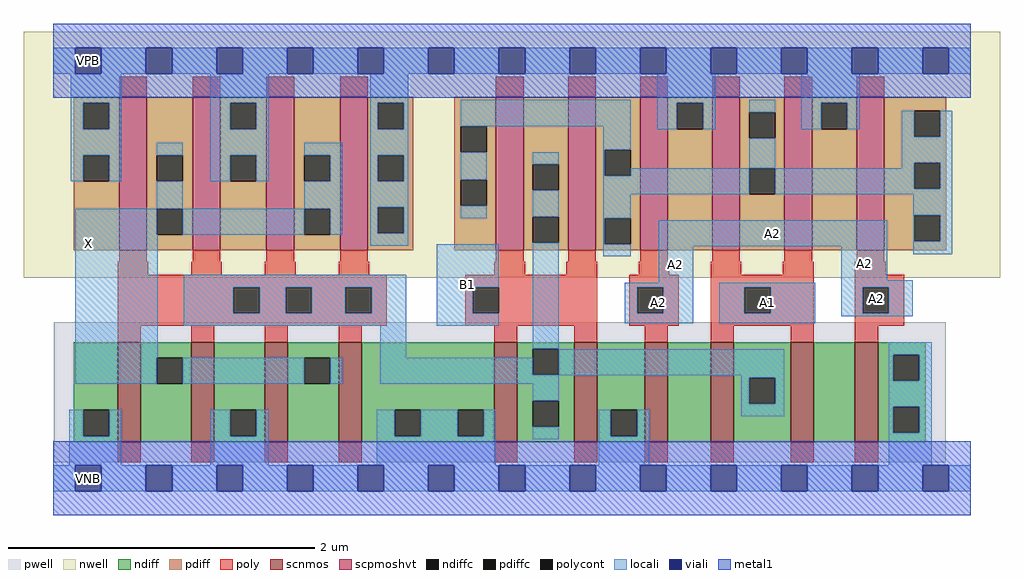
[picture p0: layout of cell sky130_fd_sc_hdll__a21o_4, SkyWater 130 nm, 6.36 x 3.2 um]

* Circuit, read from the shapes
.subckt sky130_fd_sc_hdll__a21o_4 A1 A2 B1 VGND VNB VPB VPWR X
XM1 X n1 VGND VNB sky130_fd_pr__nfet_01v8 w=0.65 l=0.15 m=4
XM2 n1 B1 VGND VNB sky130_fd_pr__nfet_01v8 w=0.65 l=0.15 m=2
XM3 n2 A2 VGND VNB sky130_fd_pr__nfet_01v8 w=0.65 l=0.15
XM4 n1 A1 n2 VNB sky130_fd_pr__nfet_01v8 w=0.65 l=0.15
XM5 n3 A1 n1 VNB sky130_fd_pr__nfet_01v8 w=0.65 l=0.15
XM6 VGND A2 n3 VNB sky130_fd_pr__nfet_01v8 w=0.65 l=0.15
XM7 X n1 VPWR VPB sky130_fd_pr__pfet_01v8_hvt w=1 l=0.18 m=4
XM8 n1 B1 n4 VPB sky130_fd_pr__pfet_01v8_hvt w=1 l=0.18 m=2
XM9 VPWR A2 n4 VPB sky130_fd_pr__pfet_01v8_hvt w=1 l=0.18 m=2
XM10 n4 A1 VPWR VPB sky130_fd_pr__pfet_01v8_hvt w=1 l=0.18 m=2
.ends

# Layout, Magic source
magic
tech sky130A
magscale 1 2
<< nwell >>
rect -38 261 1234 582
<< pwell >>
rect 1 21 1163 203
rect 29 -17 63 21
<< scnmos >>
rect 84 47 114 177
rect 180 47 210 177
rect 276 47 306 177
rect 372 47 402 177
rect 575 47 605 177
rect 679 47 709 177
rect 771 47 801 177
rect 857 47 887 177
rect 961 47 991 177
rect 1045 47 1075 177
<< scpmoshvt >>
rect 86 297 122 497
rect 182 297 218 497
rect 278 297 314 497
rect 374 297 410 497
rect 577 297 613 497
rect 671 297 707 497
rect 765 297 801 497
rect 859 297 895 497
rect 953 297 989 497
rect 1047 297 1083 497
<< ndiff >>
rect 27 89 84 177
rect 27 55 39 89
rect 73 55 84 89
rect 27 47 84 55
rect 114 157 180 177
rect 114 123 135 157
rect 169 123 180 157
rect 114 47 180 123
rect 210 89 276 177
rect 210 55 231 89
rect 265 55 276 89
rect 210 47 276 55
rect 306 157 372 177
rect 306 123 327 157
rect 361 123 372 157
rect 306 47 372 123
rect 402 89 575 177
rect 402 55 445 89
rect 479 55 527 89
rect 561 55 575 89
rect 402 47 575 55
rect 605 169 679 177
rect 605 135 625 169
rect 659 135 679 169
rect 605 101 679 135
rect 605 67 625 101
rect 659 67 679 101
rect 605 47 679 67
rect 709 89 771 177
rect 709 55 727 89
rect 761 55 771 89
rect 709 47 771 55
rect 801 47 857 177
rect 887 131 961 177
rect 887 97 907 131
rect 941 97 961 131
rect 887 47 961 97
rect 991 47 1045 177
rect 1075 161 1137 177
rect 1075 127 1095 161
rect 1129 127 1137 161
rect 1075 93 1137 127
rect 1075 59 1095 93
rect 1129 59 1137 93
rect 1075 47 1137 59
<< pdiff >>
rect 27 489 86 497
rect 27 455 39 489
rect 73 455 86 489
rect 27 421 86 455
rect 27 387 39 421
rect 73 387 86 421
rect 27 297 86 387
rect 122 421 182 497
rect 122 387 135 421
rect 169 387 182 421
rect 122 351 182 387
rect 122 317 135 351
rect 169 317 182 351
rect 122 297 182 317
rect 218 489 278 497
rect 218 455 231 489
rect 265 455 278 489
rect 218 421 278 455
rect 218 387 231 421
rect 265 387 278 421
rect 218 297 278 387
rect 314 421 374 497
rect 314 387 327 421
rect 361 387 374 421
rect 314 351 374 387
rect 314 317 327 351
rect 361 317 374 351
rect 314 297 374 317
rect 410 489 469 497
rect 410 455 423 489
rect 457 455 469 489
rect 410 421 469 455
rect 410 387 423 421
rect 457 387 469 421
rect 410 353 469 387
rect 410 319 423 353
rect 457 319 469 353
rect 410 297 469 319
rect 523 459 577 497
rect 523 425 531 459
rect 565 425 577 459
rect 523 389 577 425
rect 523 355 531 389
rect 565 355 577 389
rect 523 297 577 355
rect 613 409 671 497
rect 613 375 625 409
rect 659 375 671 409
rect 613 341 671 375
rect 613 307 625 341
rect 659 307 671 341
rect 613 297 671 307
rect 707 428 765 497
rect 707 394 719 428
rect 753 394 765 428
rect 707 339 765 394
rect 707 305 719 339
rect 753 305 765 339
rect 707 297 765 305
rect 801 489 859 497
rect 801 455 813 489
rect 847 455 859 489
rect 801 297 859 455
rect 895 477 953 497
rect 895 443 907 477
rect 941 443 953 477
rect 895 404 953 443
rect 895 370 907 404
rect 941 370 953 404
rect 895 297 953 370
rect 989 489 1047 497
rect 989 455 1001 489
rect 1035 455 1047 489
rect 989 297 1047 455
rect 1083 479 1164 497
rect 1083 445 1122 479
rect 1156 445 1164 479
rect 1083 411 1164 445
rect 1083 377 1122 411
rect 1156 377 1164 411
rect 1083 343 1164 377
rect 1083 309 1122 343
rect 1156 309 1164 343
rect 1083 297 1164 309
<< ndiffc >>
rect 39 55 73 89
rect 135 123 169 157
rect 231 55 265 89
rect 327 123 361 157
rect 445 55 479 89
rect 527 55 561 89
rect 625 135 659 169
rect 625 67 659 101
rect 727 55 761 89
rect 907 97 941 131
rect 1095 127 1129 161
rect 1095 59 1129 93
<< pdiffc >>
rect 39 455 73 489
rect 39 387 73 421
rect 135 387 169 421
rect 135 317 169 351
rect 231 455 265 489
rect 231 387 265 421
rect 327 387 361 421
rect 327 317 361 351
rect 423 455 457 489
rect 423 387 457 421
rect 423 319 457 353
rect 531 425 565 459
rect 531 355 565 389
rect 625 375 659 409
rect 625 307 659 341
rect 719 394 753 428
rect 719 305 753 339
rect 813 455 847 489
rect 907 443 941 477
rect 907 370 941 404
rect 1001 455 1035 489
rect 1122 445 1156 479
rect 1122 377 1156 411
rect 1122 309 1156 343
<< poly >>
rect 86 497 122 523
rect 182 497 218 523
rect 278 497 314 523
rect 374 497 410 523
rect 577 497 613 523
rect 671 497 707 523
rect 765 497 801 523
rect 859 497 895 523
rect 953 497 989 523
rect 1047 497 1083 523
rect 86 282 122 297
rect 182 282 218 297
rect 278 282 314 297
rect 374 282 410 297
rect 577 282 613 297
rect 671 282 707 297
rect 765 282 801 297
rect 859 282 895 297
rect 953 282 989 297
rect 1047 282 1083 297
rect 84 265 124 282
rect 180 265 220 282
rect 276 265 316 282
rect 372 265 412 282
rect 575 265 615 282
rect 669 265 709 282
rect 763 265 803 282
rect 857 265 897 282
rect 951 265 991 282
rect 84 249 435 265
rect 84 215 235 249
rect 269 215 303 249
rect 337 215 381 249
rect 415 215 435 249
rect 84 199 435 215
rect 537 249 709 265
rect 537 215 547 249
rect 581 215 709 249
rect 537 199 709 215
rect 751 249 815 265
rect 751 215 761 249
rect 795 215 815 249
rect 751 199 815 215
rect 857 249 991 265
rect 857 215 901 249
rect 935 215 991 249
rect 857 199 991 215
rect 84 177 114 199
rect 180 177 210 199
rect 276 177 306 199
rect 372 177 402 199
rect 575 177 605 199
rect 679 177 709 199
rect 771 177 801 199
rect 857 177 887 199
rect 961 177 991 199
rect 1045 265 1085 282
rect 1045 249 1109 265
rect 1045 215 1055 249
rect 1089 215 1109 249
rect 1045 199 1109 215
rect 1045 177 1075 199
rect 84 21 114 47
rect 180 21 210 47
rect 276 21 306 47
rect 372 21 402 47
rect 575 21 605 47
rect 679 21 709 47
rect 771 21 801 47
rect 857 21 887 47
rect 961 21 991 47
rect 1045 21 1075 47
<< polycont >>
rect 235 215 269 249
rect 303 215 337 249
rect 381 215 415 249
rect 547 215 581 249
rect 761 215 795 249
rect 901 215 935 249
rect 1055 215 1089 249
<< locali >>
rect 0 527 29 561
rect 63 527 121 561
rect 155 527 213 561
rect 247 527 305 561
rect 339 527 397 561
rect 431 527 489 561
rect 523 527 581 561
rect 615 527 673 561
rect 707 527 765 561
rect 799 527 857 561
rect 891 527 949 561
rect 983 527 1041 561
rect 1075 527 1133 561
rect 1167 527 1196 561
rect 23 489 89 527
rect 23 455 39 489
rect 73 455 89 489
rect 23 421 89 455
rect 205 489 281 527
rect 205 455 231 489
rect 265 455 281 489
rect 23 387 39 421
rect 73 387 89 421
rect 135 421 169 437
rect 205 421 281 455
rect 413 489 463 527
rect 413 455 423 489
rect 457 455 463 489
rect 205 387 231 421
rect 265 387 281 421
rect 327 421 377 437
rect 361 387 377 421
rect 135 351 169 387
rect 327 351 377 387
rect 29 317 135 351
rect 169 317 327 351
rect 361 317 377 351
rect 413 421 463 455
rect 413 387 423 421
rect 457 387 463 421
rect 413 353 463 387
rect 413 319 423 353
rect 457 319 463 353
rect 531 459 753 493
rect 717 428 753 459
rect 787 489 863 527
rect 787 455 813 489
rect 847 455 863 489
rect 907 477 941 493
rect 531 389 565 425
rect 531 339 565 355
rect 625 409 659 425
rect 625 341 659 375
rect 29 157 136 317
rect 413 303 463 319
rect 170 249 460 265
rect 170 215 235 249
rect 269 215 303 249
rect 337 215 381 249
rect 415 215 460 249
rect 170 199 460 215
rect 500 249 581 305
rect 500 215 547 249
rect 500 199 581 215
rect 426 157 460 199
rect 625 169 659 307
rect 717 394 719 428
rect 975 489 1051 527
rect 975 455 1001 489
rect 1035 455 1051 489
rect 907 404 941 443
rect 1106 445 1122 479
rect 1156 445 1172 479
rect 1106 411 1172 445
rect 1106 404 1122 411
rect 753 394 907 404
rect 717 370 907 394
rect 941 377 1122 404
rect 1156 377 1172 411
rect 941 370 1172 377
rect 717 339 753 370
rect 717 305 719 339
rect 1121 343 1172 370
rect 717 289 753 305
rect 789 302 1087 336
rect 789 255 834 302
rect 1027 258 1087 302
rect 1121 309 1122 343
rect 1156 309 1172 343
rect 1121 292 1172 309
rect 745 249 834 255
rect 745 215 761 249
rect 795 215 834 249
rect 745 202 834 215
rect 868 249 993 255
rect 868 215 901 249
rect 935 215 993 249
rect 868 202 993 215
rect 1027 249 1120 258
rect 1027 215 1055 249
rect 1089 215 1120 249
rect 1027 211 1120 215
rect 29 123 135 157
rect 169 123 327 157
rect 361 123 377 157
rect 426 135 625 157
rect 659 135 953 168
rect 426 134 953 135
rect 426 123 659 134
rect 625 101 659 123
rect 21 55 39 89
rect 73 55 89 89
rect 21 17 89 55
rect 205 55 231 89
rect 265 55 281 89
rect 205 17 281 55
rect 422 55 445 89
rect 479 55 527 89
rect 561 55 577 89
rect 422 17 577 55
rect 897 131 953 134
rect 897 97 907 131
rect 941 97 953 131
rect 625 51 659 67
rect 711 55 727 89
rect 761 55 777 89
rect 897 81 953 97
rect 1089 161 1145 177
rect 1089 127 1095 161
rect 1129 127 1145 161
rect 1089 93 1145 127
rect 711 17 777 55
rect 1089 59 1095 93
rect 1129 59 1145 93
rect 1089 17 1145 59
rect 0 -17 29 17
rect 63 -17 121 17
rect 155 -17 213 17
rect 247 -17 305 17
rect 339 -17 397 17
rect 431 -17 489 17
rect 523 -17 581 17
rect 615 -17 673 17
rect 707 -17 765 17
rect 799 -17 857 17
rect 891 -17 949 17
rect 983 -17 1041 17
rect 1075 -17 1133 17
rect 1167 -17 1196 17
<< viali >>
rect 29 527 63 561
rect 121 527 155 561
rect 213 527 247 561
rect 305 527 339 561
rect 397 527 431 561
rect 489 527 523 561
rect 581 527 615 561
rect 673 527 707 561
rect 765 527 799 561
rect 857 527 891 561
rect 949 527 983 561
rect 1041 527 1075 561
rect 1133 527 1167 561
rect 29 -17 63 17
rect 121 -17 155 17
rect 213 -17 247 17
rect 305 -17 339 17
rect 397 -17 431 17
rect 489 -17 523 17
rect 581 -17 615 17
rect 673 -17 707 17
rect 765 -17 799 17
rect 857 -17 891 17
rect 949 -17 983 17
rect 1041 -17 1075 17
rect 1133 -17 1167 17
<< metal1 >>
rect 0 561 1196 592
rect 0 527 29 561
rect 63 527 121 561
rect 155 527 213 561
rect 247 527 305 561
rect 339 527 397 561
rect 431 527 489 561
rect 523 527 581 561
rect 615 527 673 561
rect 707 527 765 561
rect 799 527 857 561
rect 891 527 949 561
rect 983 527 1041 561
rect 1075 527 1133 561
rect 1167 527 1196 561
rect 0 496 1196 527
rect 0 17 1196 48
rect 0 -17 29 17
rect 63 -17 121 17
rect 155 -17 213 17
rect 247 -17 305 17
rect 339 -17 397 17
rect 431 -17 489 17
rect 523 -17 581 17
rect 615 -17 673 17
rect 707 -17 765 17
rect 799 -17 857 17
rect 891 -17 949 17
rect 983 -17 1041 17
rect 1075 -17 1133 17
rect 1167 -17 1196 17
rect 0 -48 1196 -17
<< labels >>
flabel locali s 1027 258 1087 302 0 FreeSans 340 0 0 0 A2
port 2 nsew signal input
flabel locali s 868 202 993 255 0 FreeSans 340 0 0 0 A1
port 1 nsew signal input
flabel locali s 29 289 63 323 0 FreeSans 340 0 0 0 X
port 8 nsew signal output
flabel locali s 500 199 581 305 0 FreeSans 340 0 0 0 B1
port 3 nsew signal input
flabel pwell s 29 -17 63 17 0 FreeSans 200 0 0 0 VNB
port 5 nsew ground bidirectional
flabel nwell s 29 527 63 561 0 FreeSans 200 0 0 0 VPB
port 6 nsew power bidirectional
flabel metal1 s 29 -17 63 17 0 FreeSans 200 0 0 0 VGND
port 4 nsew ground bidirectional
flabel metal1 s 29 527 63 561 0 FreeSans 200 0 0 0 VPWR
port 7 nsew power bidirectional
rlabel locali s 1027 211 1120 258 1 A2
port 2 nsew signal input
rlabel locali s 789 302 1087 336 1 A2
port 2 nsew signal input
rlabel locali s 789 255 834 302 1 A2
port 2 nsew signal input
rlabel locali s 745 202 834 255 1 A2
port 2 nsew signal input
<< properties >>
string LEFsite unithd
string LEFclass CORE
string FIXED_BBOX 0 0 1196 544
string GDS_FILE $PDKPATH/libs.ref/sky130_fd_sc_hdll/gds/sky130_fd_sc_hdll.gds
string LEFsymmetry X Y R90
string GDS_END 1363020
string GDS_START 1354448
string LEFproperties maskLayoutSubType "abstract" prCellType "standard" originalViewName "layout"
<< end >>
